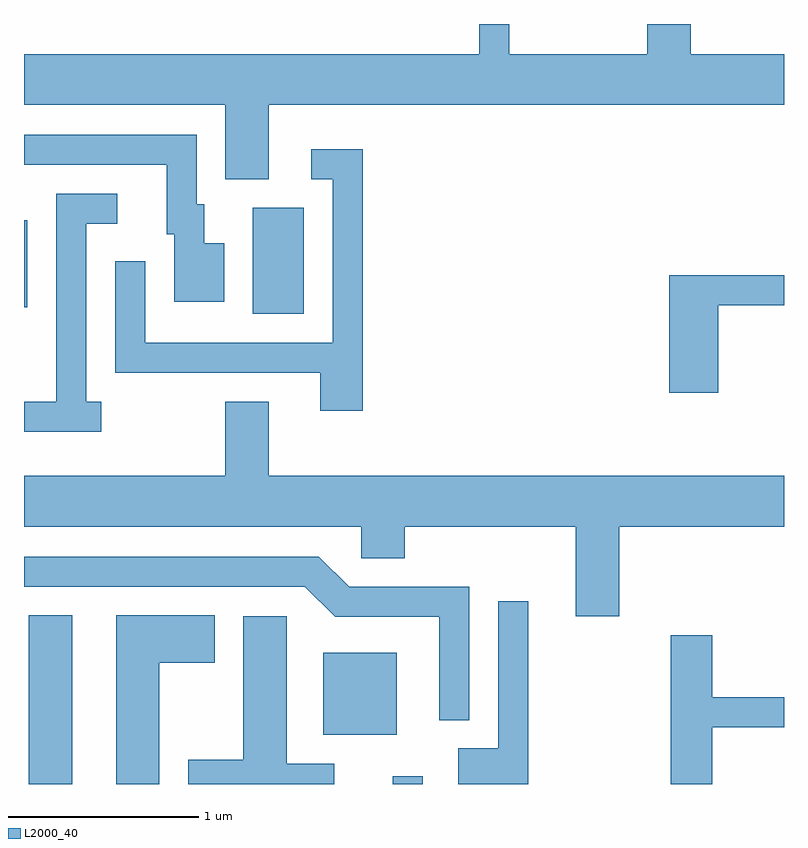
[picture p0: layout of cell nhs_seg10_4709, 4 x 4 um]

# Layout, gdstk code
import gdstk
lib = gdstk.Library(unit=1e-6, precision=1e-09)
def R(c, l, rs):  # rectangles x0, y0, x1, y1
    for r in rs: c.add(gdstk.rectangle(r[:2], r[2:], *l))
def P(c, l, *ps):  # polygons
    for p in ps: c.add(gdstk.Polygon(p, *l))
L2000_40 = (2000, 40)

nhs_seg10_4709 = lib.new_cell('nhs_seg10_4709')
R(nhs_seg10_4709, L2000_40, [(323.636,2152.522,323.864,2153.409), (325.551,2152.522,325.709,2152.563), (325.186,2152.781,325.574,2153.214), (324.816,2154.996,325.084,2155.554), (323.611,2155.031,323.629,2155.489)])
P(nhs_seg10_4709, L2000_40, [(324.899,2156.096),(327.611,2156.096),(327.611,2156.364),(327.119,2156.364),(327.119,2156.522),(326.891,2156.522),(326.891,2156.364),(326.164,2156.364),(326.164,2156.522),(326.006,2156.522),(326.006,2156.364),(323.611,2156.364),(323.611,2156.096),(324.671,2156.096),(324.671,2155.706),(324.899,2155.706)],
  [(324.664,2155.369),(324.559,2155.369),(324.559,2155.574),(324.519,2155.574),(324.519,2155.939),(323.611,2155.939),(323.611,2155.781),(324.361,2155.781),(324.361,2155.416),(324.401,2155.416),(324.401,2155.061),(324.664,2155.061)],
  [(325.394,2155.864),(325.123,2155.864),(325.123,2155.706),(325.236,2155.706),(325.236,2154.844),(324.249,2154.844),(324.249,2155.273),(324.091,2155.273),(324.091,2154.686),(325.171,2154.686),(325.171,2154.486),(325.394,2154.486)],
  [(324.018,2154.534),(323.939,2154.534),(323.939,2155.471),(324.103,2155.471),(324.103,2155.629),(323.781,2155.629),(323.781,2154.534),(323.611,2154.534),(323.611,2154.376),(324.018,2154.376)],
  [(327.264,2155.041),(327.611,2155.041),(327.611,2155.199),(327.006,2155.199),(327.006,2154.581),(327.264,2154.581)],
  [(324.899,2154.534),(324.671,2154.534),(324.671,2154.144),(323.611,2154.144),(323.611,2153.876),(325.386,2153.876),(325.386,2153.711),(325.614,2153.711),(325.614,2153.876),(326.516,2153.876),(326.516,2153.406),(326.744,2153.406),(326.744,2153.876),(327.611,2153.876),(327.611,2154.144),(324.899,2154.144)],
  [(325.954,2153.559),(325.322,2153.559),(325.162,2153.719),(323.611,2153.719),(323.611,2153.561),(325.089,2153.561),(325.249,2153.401),(325.796,2153.401),(325.796,2152.858),(325.954,2152.858)],
  [(326.264,2153.483),(326.106,2153.483),(326.106,2152.709),(325.896,2152.709),(325.896,2152.522),(326.264,2152.522)],
  [(324.324,2153.161),(324.614,2153.161),(324.614,2153.409),(324.096,2153.409),(324.096,2152.522),(324.324,2152.522)],
  [(325.244,2152.629),(324.994,2152.629),(324.994,2153.404),(324.766,2153.404),(324.766,2152.649),(324.476,2152.649),(324.476,2152.522),(325.244,2152.522)],
  [(327.234,2152.821),(327.611,2152.821),(327.611,2152.979),(327.234,2152.979),(327.234,2153.304),(327.016,2153.304),(327.016,2152.522),(327.234,2152.522)])

lib.write_gds('nhs_seg10_4709.gds')
